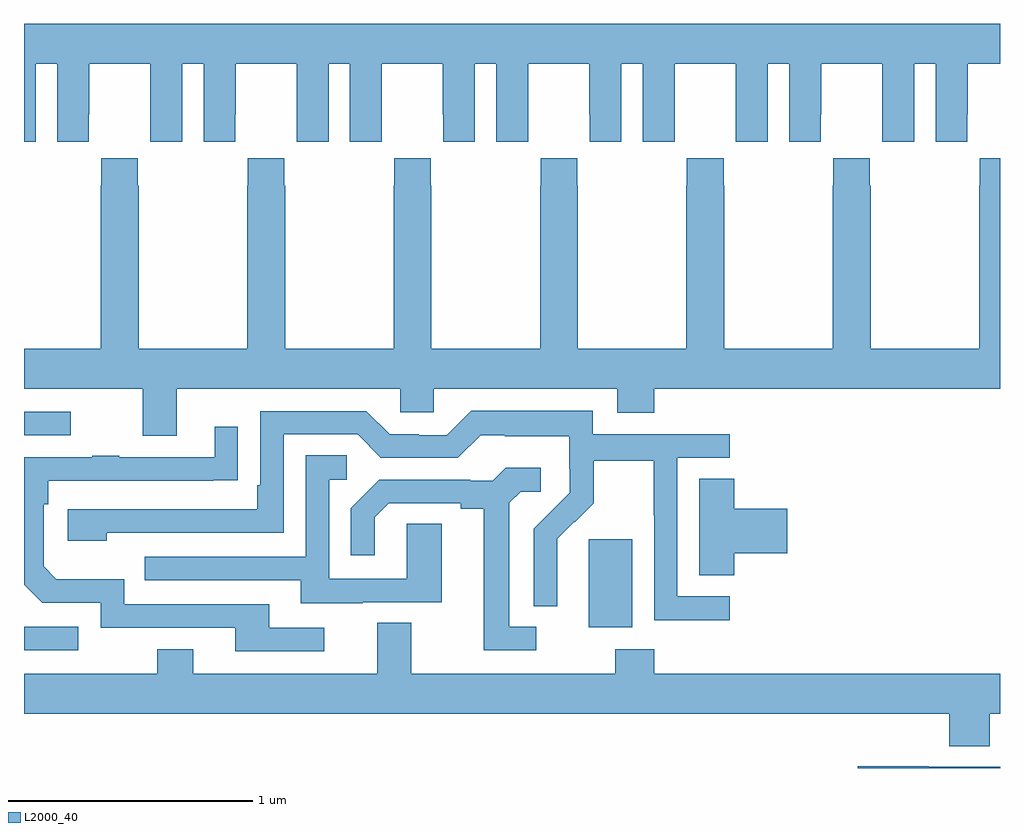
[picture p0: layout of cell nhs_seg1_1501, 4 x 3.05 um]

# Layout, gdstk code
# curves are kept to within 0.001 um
import gdstk
lib = gdstk.Library(unit=1e-6, precision=1e-09)
def R(c, l, rs):  # rectangles x0, y0, x1, y1
    for r in rs: c.add(gdstk.rectangle(r[:2], r[2:], *l))
def P(c, l, *ps):  # polygons
    for p in ps: c.add(gdstk.Polygon(p, *l))
L2000_40 = (2000, 40)

nhs_seg1_1501 = lib.new_cell('nhs_seg1_1501')
R(nhs_seg1_1501, L2000_40, [(193,526.683,193.222,526.779), (195.314,526.778,195.493,527.139), (193,527.565,193.192,527.661)])
P(nhs_seg1_1501, L2000_40, [(193.048,529.088),(193.136,529.088),(193.136,528.768),(193.266,528.768),(193.266,528.88),(193.267,528.88),(193.267,529.088),(193.517,529.088),(193.517,528.88),(193.518,528.88),(193.518,528.768),(193.648,528.768),(193.648,529.088),(193.736,529.088),(193.736,528.768),(193.866,528.768),(193.866,528.88),(193.867,528.88),(193.867,529.088),(194.117,529.088),(194.117,528.88),(194.118,528.88),(194.118,528.768),(194.248,528.768),(194.248,529.088),(194.336,529.088),(194.336,528.768),(194.466,528.768),(194.466,528.88),(194.467,528.88),(194.467,529.088),(194.717,529.088),(194.717,528.88),(194.718,528.88),(194.718,528.768),(194.848,528.768),(194.848,529.088),(194.936,529.088),(194.936,528.768),(195.066,528.768),(195.066,528.88),(195.067,528.88),(195.067,529.088),(195.317,529.088),(195.317,528.88),(195.318,528.88),(195.318,528.768),(195.448,528.768),(195.448,529.088),(195.536,529.088),(195.536,528.768),(195.666,528.768),(195.666,528.88),(195.667,528.88),(195.667,529.088),(195.917,529.088),(195.917,528.88),(195.918,528.88),(195.918,528.768),(196.048,528.768),(196.048,529.088),(196.136,529.088),(196.136,528.768),(196.266,528.768),(196.266,528.88),(196.267,528.88),(196.267,529.088),(196.517,529.088),(196.517,528.88),(196.518,528.88),(196.518,528.768),(196.648,528.768),(196.648,529.088),(196.736,529.088),(196.736,528.768),(196.866,528.768),(196.866,528.88),(196.867,528.88),(196.867,529.088),(197,529.088),(197,529.252),(193,529.252),(193,528.768),(193.048,528.768)],
  [(193.627,527.756),(194.541,527.756),(194.541,527.658),(194.679,527.658),(194.679,527.756),(195.431,527.756),(195.431,527.657),(195.584,527.657),(195.584,527.756),(197,527.756),(197,528.7),(196.917,528.7),(196.917,528.587),(196.915,528.587),(196.915,527.92),(196.47,527.92),(196.47,528.587),(196.467,528.587),(196.467,528.7),(196.317,528.7),(196.317,528.587),(196.315,528.587),(196.315,527.92),(195.87,527.92),(195.87,528.587),(195.867,528.587),(195.867,528.7),(195.717,528.7),(195.717,528.587),(195.715,528.587),(195.715,527.92),(195.27,527.92),(195.27,528.587),(195.267,528.587),(195.267,528.7),(195.117,528.7),(195.117,528.587),(195.115,528.587),(195.115,527.92),(194.67,527.92),(194.67,528.587),(194.667,528.587),(194.667,528.7),(194.517,528.7),(194.517,528.587),(194.515,528.587),(194.515,527.92),(194.07,527.92),(194.07,528.587),(194.067,528.587),(194.067,528.7),(193.917,528.7),(193.917,528.587),(193.915,528.587),(193.915,527.92),(193.47,527.92),(193.47,528.587),(193.467,528.587),(193.467,528.7),(193.317,528.7),(193.317,528.587),(193.315,528.587),(193.315,527.92),(193,527.92),(193,527.756),(193.487,527.756),(193.487,527.562),(193.627,527.562)],
  [(195.892,526.905),(195.678,526.905),(195.678,527.472),(195.892,527.472),(195.892,527.568),(195.33,527.568),(195.33,527.665),(194.833,527.665),(194.733,527.565),(194.618,527.565),(194.618,527.568),(194.499,527.568),(194.403,527.664),(193.968,527.664),(193.968,527.359),(193.955,527.359),(193.955,527.262),(193.179,527.262),(193.179,527.132),(193.34,527.132),(193.34,527.166),(194.064,527.166),(194.064,527.568),(194.367,527.568),(194.463,527.472),(194.778,527.472),(194.871,527.565),(194.971,527.565),(194.971,527.561),(195.234,527.561),(195.234,527.427),(195.236,527.427),(195.236,527.33),(195.09,527.182),(195.09,526.864),(195.186,526.864),(195.185,527.141),(195.255,527.211),(195.258,527.208),(195.335,527.285),(195.335,527.46),(195.58,527.46),(195.58,527.236),(195.582,527.236),(195.582,526.807),(195.892,526.807)],
  [(194.23,526.776),(194.005,526.776),(194.005,526.872),(193.41,526.872),(193.41,526.975),(193.133,526.975),(193.08,527.028),(193.08,527.282),(193.1,527.282),(193.1,527.379),(193.877,527.38),(193.877,527.599),(193.781,527.599),(193.781,527.475),(193.391,527.475),(193.391,527.48),(193.279,527.48),(193.279,527.475),(193,527.475),(193,526.952),(193.074,526.878),(193.314,526.878),(193.314,526.776),(193.865,526.776),(193.865,526.68),(194.23,526.68)],
  [(194.389,526.881),(194.713,526.881),(194.713,527.201),(194.568,527.201),(194.568,526.977),(194.25,526.977),(194.25,527.382),(194.323,527.382),(194.323,527.483),(194.154,527.483),(194.154,527.067),(193.495,527.067),(193.495,526.971),(194.135,526.971),(194.135,526.877),(194.389,526.877)],
  [(195.1,526.779),(194.989,526.779),(194.989,527.287),(195.036,527.334),(195.118,527.334),(195.118,527.431),(194.974,527.431),(194.922,527.379),(194.828,527.379),(194.828,527.382),(194.456,527.382),(194.34,527.266),(194.34,527.073),(194.437,527.073),(194.437,527.229),(194.494,527.286),(194.789,527.286),(194.789,527.264),(194.885,527.264),(194.885,526.683),(195.1,526.683)],
  [(195.911,527.081),(196.129,527.081),(196.129,527.264),(195.911,527.264),(195.911,527.387),(195.767,527.387),(195.767,526.99),(195.911,526.99)],
  [(196.958,526.424),(197,526.424),(197,526.588),(195.584,526.588),(195.584,526.687),(195.424,526.687),(195.424,526.588),(194.587,526.588),(194.587,526.796),(194.447,526.796),(194.447,526.588),(193.693,526.588),(193.693,526.687),(193.546,526.687),(193.546,526.588),(193,526.588),(193,526.424),(196.793,526.424),(196.793,526.291),(196.958,526.291)],
  [(197,526.206),(196.709,526.206),(196.709,526.208),(196.417,526.208),(196.417,526.199),(197,526.199)])

lib.write_gds('nhs_seg1_1501.gds')
